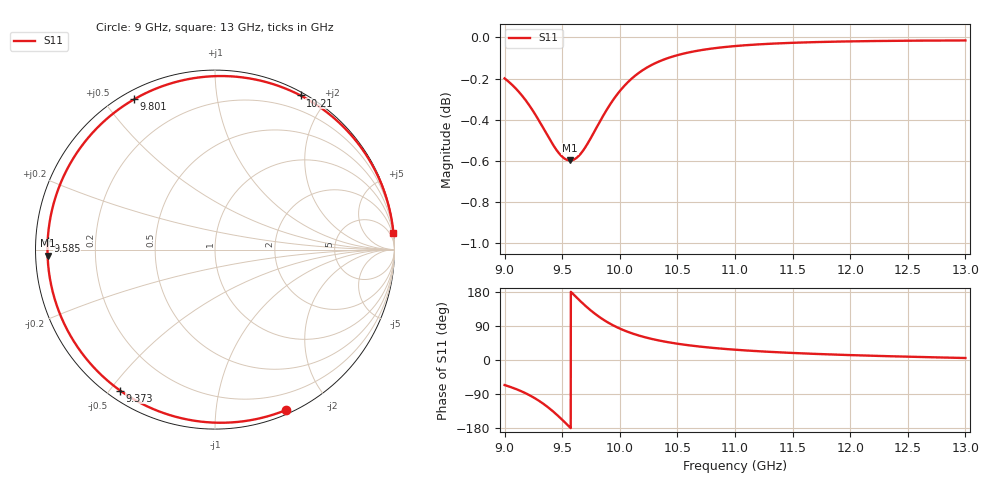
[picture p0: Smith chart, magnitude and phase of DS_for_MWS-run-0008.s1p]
! TOUCHSTONE file generated by CST DESIGN STUDIO
! Date and time: Tue Feb  4 12:49:06 2025
! Project name: C:\Work\MatlabApps\UnitCellOptimizationMatlab\CST\unitcell.cst
! Tree item: Tasks\Sweep1\SPara1\S-Parameters
! Header version: 2024
! Port assignment regex: !\s*Touchstone port\s*([0-9]+)\s*=\s*(CST MWS port|CST DES external port|CST DES block port)\s*(.+)\s* \(\"(.*)\"\)(\s*mode\s*([0-9]+))?.*
! Touchstone port assignment:
! Touchstone port 1 = CST DES external port 1 ("")
# GHz S MA R 50
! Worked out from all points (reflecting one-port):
!   4001 points, 9 GHz to 13 GHz, reference 50 ohm
!   lowest |S11| = -0.6 dB at 9.568 GHz (marker M1), VSWR 29.06, Z = 1.72 - j0.896 ohm
!   phase of S11 starts at -66 deg and turns -289 deg over the sweep
!   S11 on the Smith chart (normalised r, x): 9 GHz: 0.04, -1.53; 9.373 GHz: 0.04, -0.53; 9.585 GHz: 0.03, +0.03; 9.801 GHz: 0.03, +0.60; 10.21 GHz: 0.03, +1.70; 13 GHz: 0, +22
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9  0.9773 -66.1
9.043  0.9751 -70.4
9.11  0.9709 -78.0
9.224  0.9618 -94.2
9.303  0.954 -108.6
9.373  0.9465 -123.9
9.435  0.9403 -139.5
9.5  0.9354 -157.7
9.535  0.9339 -168.0
9.568  0.9335 -177.9
9.585  0.9336 176.9
9.64  0.9356 160.5
9.701  0.9404 143.1
9.751  0.9455 130.1
9.801  0.9511 118.2
9.844  0.9559 109.0
9.891  0.9608 100.1
10  0.9704 82.9
10.099  0.977 71.0
10.207  0.9822 61.0
10.342  0.9867 51.4
10.5  0.9901 43.0
10.721  0.9931 34.6
11  0.9952 27.2
11.5  0.997 18.6
12  0.9978 12.9
12.5  0.9982 8.7
13  0.9983 5.2
